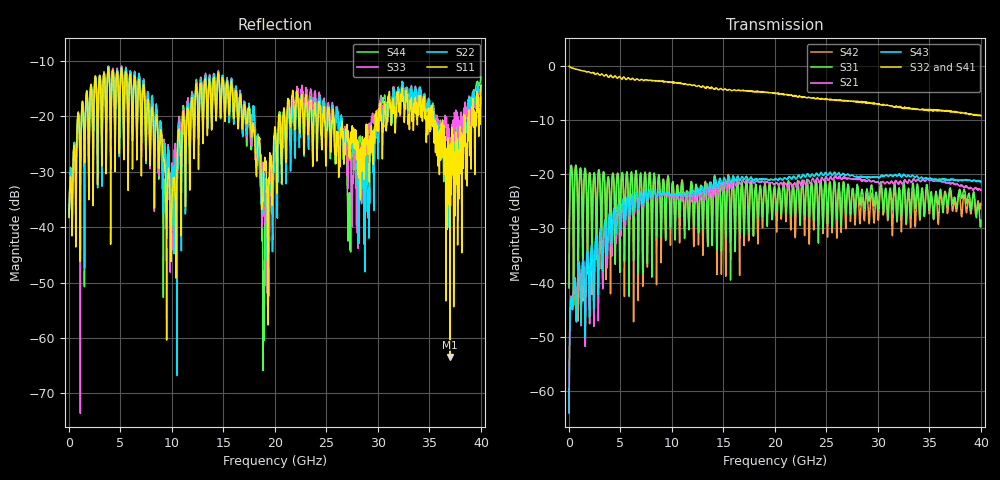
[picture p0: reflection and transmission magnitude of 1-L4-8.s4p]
! MS46524B
! 2118201/M1: 21072234/M2: 20492244
! 10/22/2024 6:47:33 PM
! C:\VNA DATA\LC3-SMK\AD5613\22VAD5613Q\LOT-805\差動\1-L4-8.S4P
! CHANNEL.1
! TR.MEASUREMENT
! CORRECTED.DATA
# GHZ S RI R 50.0
! FREQ.GHZ  S11RE  S11IM  S12RE  S12IM  S13RE  S13IM  S14RE  S14IM
!  S21RE  S21IM  S22RE  S22IM  S23RE  S23IM  S24RE  S24IM
!  S31RE  S31IM  S32RE  S32IM  S33RE  S33IM  S34RE  S34IM
!  S41RE  S41IM  S42RE  S42IM  S43RE  S43IM  S44RE  S44IM
!; PortSelection: Port_1234
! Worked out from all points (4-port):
!   4000 points, 10 MHz to 40 GHz, reference 50 ohm
!   strongest paths, dB at 10 MHz, 10.01 GHz, 20.01 GHz, 30.01 GHz, 40 GHz:
!     S32: -0.1, -3.1, -5.1, -7.1, -9.3
!     S41: -0.1, -3.1, -5.1, -7.1, -9.2
!     S43: -63.9, -23.6, -20.9, -20.6, -21.4
!     S21: -64.1, -23.8, -21.8, -21.4, -23.0
!     S31: -40.9, -22.0, -22.8, -26.6, -28.5
!     S42: -40.9, -22.3, -23.7, -28.0, -25.4
!   lowest |S11| = -63.4 dB at 36.99 GHz (marker M1), VSWR 1.00, Z = 50.1 - j0.0213 ohm
!   |S11| at or under -10 dB: start of sweep to end of sweep
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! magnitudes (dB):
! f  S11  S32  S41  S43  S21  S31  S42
! 10 MHz  -38.3  -0.1  -0.1  -63.9  -64.1  -40.9  -40.9
! 6.56 GHz  -23.7  -2.5  -2.4  -23.3  -23.6  -20.0  -20.2
! 15.79 GHz  -13.8  -4.6  -4.5  -21.4  -22.6  -24.6  -24.0
! 18.89 GHz  -29.2  -4.9  -4.9  -20.9  -21.4  -24.4  -25.1
! 22.22 GHz  -16.1  -5.7  -5.8  -20.4  -22.1  -21.6  -21.2
! 36.99 GHz  -63.4  -8.5  -8.3  -21.2  -21.7  -22.7  -23.1
! 40 GHz  -14.5  -9.3  -9.2  -21.4  -23.0  -28.5  -25.4
